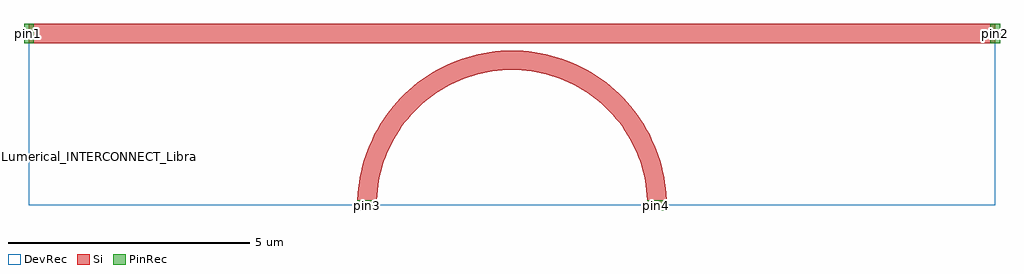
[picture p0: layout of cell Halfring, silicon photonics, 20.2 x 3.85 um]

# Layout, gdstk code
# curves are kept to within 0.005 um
from math import pi, radians
import gdstk
lib = gdstk.Library(unit=1e-6, precision=1e-09)
def R(c, l, rs):  # rectangles x0, y0, x1, y1
    for r in rs: c.add(gdstk.rectangle(r[:2], r[2:], *l))
def P(c, l, *ps):  # polygons
    for p in ps: c.add(gdstk.Polygon(p, *l))
Si = (1, 0)
PinRec = (1, 10)
DevRec = (68, 0)

waveguide_bend = lib.new_cell('Waveguide_Bend')
P(waveguide_bend, Si, [(-3,-0.2),(-3,0.2),(-2.796,0.207),(-2.492,0.247),(-2.193,0.319),(-1.999,0.385),(-1.719,0.51),(-1.541,0.61),(-1.288,0.784),(-1.057,0.984),(-0.915,1.131),(-0.723,1.37),(-0.558,1.63),(-0.423,1.906),(-0.35,2.096),(-0.267,2.392),(-0.217,2.694),(-0.2,3),(0.2,3),(0.181,2.65),(0.147,2.418),(0.065,2.079),(-0.011,1.857),(-0.154,1.537),(-0.268,1.333),(-0.468,1.044),(-0.696,0.779),(-0.953,0.54),(-1.138,0.397),(-1.434,0.21),(-1.748,0.055),(-2.079,-0.065),(-2.418,-0.147),(-2.65,-0.181)])

halfring = lib.new_cell('Halfring')
R(halfring, Si, [(-10,3.35,10,3.75)])
R(halfring, DevRec, [(-10,0,10,3.75)])
halfring.add(gdstk.FlexPath([(-9.9,3.55),(-10.1,3.55)], 0.4, ends="flush", simple_path=True, layer=1, datatype=10))  # PinRec
halfring.add(gdstk.FlexPath([(9.9,3.55),(10.1,3.55)], 0.4, ends="flush", simple_path=True, layer=1, datatype=10))  # PinRec
halfring.add(gdstk.FlexPath([(-3,0.1),(-3,-0.1)], 0.4, ends="flush", simple_path=True, layer=1, datatype=10))  # PinRec
halfring.add(gdstk.FlexPath([(3,0.1),(3,-0.1)], 0.4, ends="flush", simple_path=True, layer=1, datatype=10))  # PinRec
halfring.add(gdstk.Reference(waveguide_bend, (-3,3), rotation=pi/2, x_reflection=True))
halfring.add(gdstk.Reference(waveguide_bend, (3,3), x_reflection=True))
halfring.add(gdstk.Label('pin1', (-10,3.55), layer=1, texttype=10))
halfring.add(gdstk.Label('pin2', (10,3.55), layer=1, texttype=10))
halfring.add(gdstk.Label('pin3', (-3,0), layer=1, texttype=10))
halfring.add(gdstk.Label('pin4', (3,0), layer=1, texttype=10))
halfring.add(gdstk.Label('Lumerical_INTERCONNECT_Library=Custom/ebeam_user', (-10,1), layer=68, texttype=0))

lib.write_gds('Halfring.gds')
